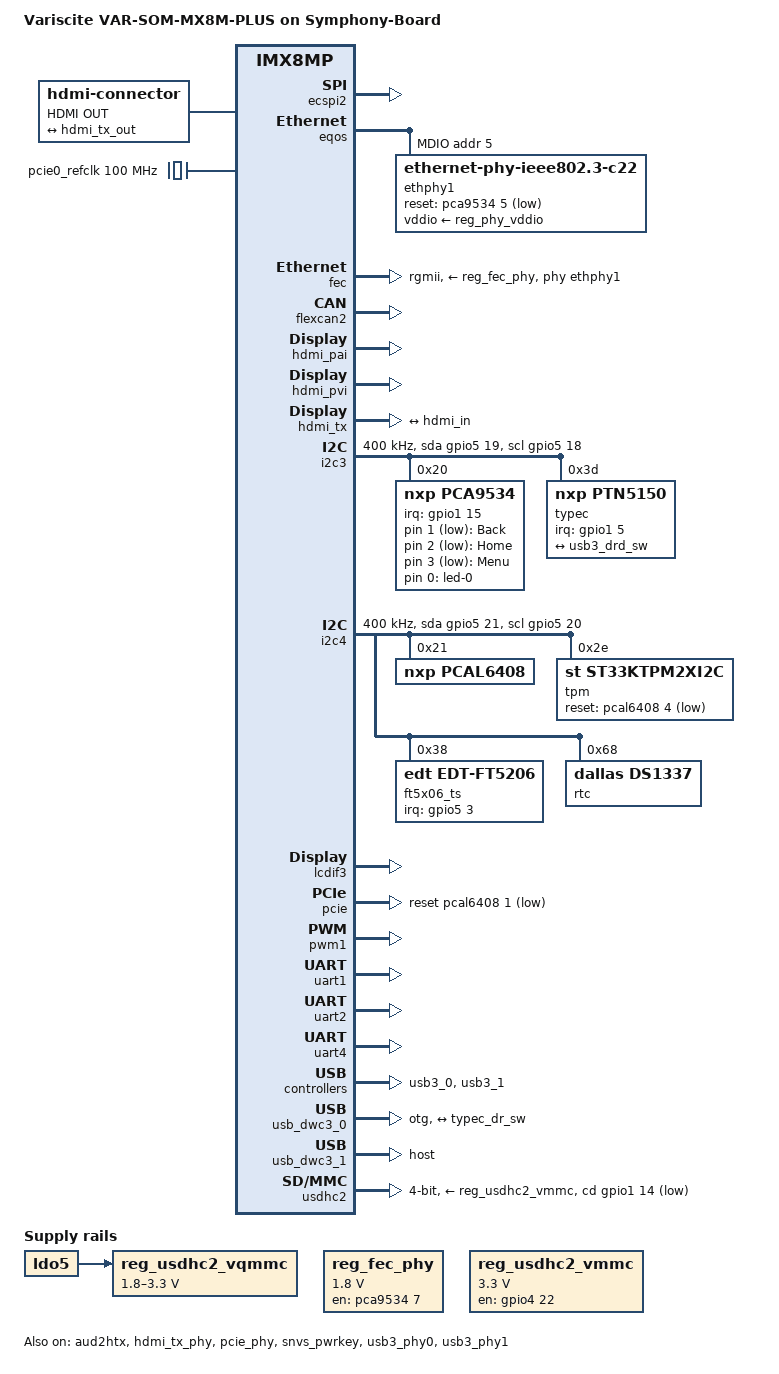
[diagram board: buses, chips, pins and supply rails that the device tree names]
// SPDX-License-Identifier: (GPL-2.0+ OR MIT)
/*
 * Copyright 2024 Variscite Ltd.
 */

#include "imx8mp-var-som.dtsi"

/ {
	model = "Variscite VAR-SOM-MX8M-PLUS on Symphony-Board";
	compatible = "variscite,var-som-mx8mp-symphony", "variscite,var-som-mx8mp", "fsl,imx8mp";

	chosen {
		stdout-path = &uart2;
	};

	gpio-keys {
		compatible = "gpio-keys";

		button-back {
			label = "Back";
			linux,code = <KEY_BACK>;
			gpios = <&pca9534 1 GPIO_ACTIVE_LOW>;
			wakeup-source;
		};

		button-home {
			label = "Home";
			linux,code = <KEY_HOME>;
			gpios = <&pca9534 2 GPIO_ACTIVE_LOW>;
			wakeup-source;
		};

		button-menu {
			label = "Menu";
			linux,code = <KEY_MENU>;
			gpios = <&pca9534 3 GPIO_ACTIVE_LOW>;
			wakeup-source;
		};
	};

	gpio-leds {
		compatible = "gpio-leds";

		led-0 {
			function = LED_FUNCTION_POWER;
			gpios = <&pca9534 0 GPIO_ACTIVE_HIGH>;
			linux,default-trigger = "heartbeat";
		};
	};

	native-hdmi-connector {
		compatible = "hdmi-connector";
		label = "HDMI OUT";
		type = "a";

		port {
			hdmi_in: endpoint {
				remote-endpoint = <&hdmi_tx_out>;
			};
		};
	};

	pcie0_refclk: pcie0-refclk {
		compatible = "fixed-clock";
		#clock-cells = <0>;
		clock-frequency = <100000000>;
	};

	reg_fec_phy: regulator-fec-phy {
		compatible = "regulator-fixed";
		regulator-name = "fec-phy";
		regulator-min-microvolt = <1800000>;
		regulator-max-microvolt = <1800000>;
		regulator-enable-ramp-delay = <20000>;
		gpio = <&pca9534 7 GPIO_ACTIVE_HIGH>;
		enable-active-high;
	};

	reg_usdhc2_vmmc: regulator-usdhc2-vmmc {
		compatible = "regulator-fixed";
		regulator-name = "VSD_3V3";
		regulator-min-microvolt = <3300000>;
		regulator-max-microvolt = <3300000>;
		gpios = <&gpio4 22 GPIO_ACTIVE_HIGH>;
		enable-active-high;
		startup-delay-us = <100>;
		off-on-delay-us = <12000>;
	};

	reg_usdhc2_vqmmc: regulator-usdhc2-vqmmc {
		compatible = "regulator-gpio";
		regulator-name = "VSD_VSEL";
		regulator-min-microvolt = <1800000>;
		regulator-max-microvolt = <3300000>;
		gpios = <&gpio2 12 GPIO_ACTIVE_HIGH>;
		states = <3300000 0x0 1800000 0x1>;
		vin-supply = <&ldo5>;
	};

	sound-hdmi {
		compatible = "fsl,imx-audio-hdmi";
		model = "audio-hdmi";
		audio-cpu = <&aud2htx>;
		hdmi-out;
	};
};

&aud2htx {
	status = "okay";
};

&ecspi2 {
	pinctrl-names = "default";
	pinctrl-0 = <&pinctrl_ecspi2>;
	cs-gpios = <&gpio5 13 GPIO_ACTIVE_LOW>;
	status = "okay";
};

&eqos {
	mdio {
		ethphy1: ethernet-phy@5 {
			compatible = "ethernet-phy-ieee802.3-c22";
			reg = <5>;
			reset-gpios = <&pca9534 5 GPIO_ACTIVE_LOW>;
			reset-assert-us = <10000>;
			reset-deassert-us = <20000>;
			vddio-supply = <&reg_phy_vddio>;
		};
	};
};

&fec {
	pinctrl-names = "default";
	pinctrl-0 = <&pinctrl_fec>;
	/*
	 * The required RGMII TX and RX 2ns delays are implemented directly
	 * in hardware via passive delay elements on the SOM PCB.
	 * No delay configuration is needed in software via PHY driver.
	 */
	phy-mode = "rgmii";
	phy-handle = <&ethphy1>;
	phy-supply = <&reg_fec_phy>;
	status = "okay";
};

&flexcan2 {
	pinctrl-names = "default";
	pinctrl-0 = <&pinctrl_flexcan2>;
	status = "okay";
};

&hdmi_pai {
	status = "okay";
};

&hdmi_pvi {
	status = "okay";
};

&hdmi_tx {
	pinctrl-names = "default";
	pinctrl-0 = <&pinctrl_hdmi>;
	status = "okay";

	ports {
		port@1 {
			hdmi_tx_out: endpoint {
				remote-endpoint = <&hdmi_in>;
			};
		};
	};
};

&hdmi_tx_phy {
	status = "okay";
};

&i2c3 {
	clock-frequency = <400000>;
	pinctrl-names = "default", "gpio";
	pinctrl-0 = <&pinctrl_i2c3>;
	pinctrl-1 = <&pinctrl_i2c3_gpio>;
	scl-gpios = <&gpio5 18 (GPIO_ACTIVE_HIGH | GPIO_OPEN_DRAIN)>;
	sda-gpios = <&gpio5 19 (GPIO_ACTIVE_HIGH | GPIO_OPEN_DRAIN)>;
	status = "okay";

	/* GPIO expander */
	pca9534: gpio@20 {
		compatible = "nxp,pca9534";
		reg = <0x20>;
		pinctrl-names = "default";
		pinctrl-0 = <&pinctrl_pca9534>;
		gpio-controller;
		#gpio-cells = <2>;
		interrupt-parent = <&gpio1>;
		interrupts = <15 IRQ_TYPE_EDGE_FALLING>;
		wakeup-source;

		usb3-sata-sel-hog {
			gpio-hog;
			gpios = <4 0>;
			output-low;
			line-name = "usb3_sata_sel";
		};
	};

	/* USB Type-C Controller */
	typec@3d {
		compatible = "nxp,ptn5150";
		reg = <0x3d>;
		pinctrl-names = "default";
		pinctrl-0 = <&pinctrl_ptn5150>;
		interrupt-parent = <&gpio1>;
		interrupts = <5 IRQ_TYPE_EDGE_FALLING>;

		port {
			typec_dr_sw: endpoint {
				remote-endpoint = <&usb3_drd_sw>;
			};
		};
	};
};

&i2c4 {
	clock-frequency = <400000>;
	pinctrl-names = "default", "gpio", "sleep";
	pinctrl-0 = <&pinctrl_i2c4>;
	pinctrl-1 = <&pinctrl_i2c4_gpio>;
	pinctrl-2 = <&pinctrl_i2c4_gpio>;
	scl-gpios = <&gpio5 20 (GPIO_ACTIVE_HIGH | GPIO_OPEN_DRAIN)>;
	sda-gpios = <&gpio5 21 (GPIO_ACTIVE_HIGH | GPIO_OPEN_DRAIN)>;
	status = "okay";

	pcal6408: gpio@21 {
		compatible = "nxp,pcal6408";
		reg = <0x21>;
		#gpio-cells = <2>;
		gpio-controller;

		/* RGB_SEL */
		lvds-brg-enable-hog {
			gpio-hog;
			gpios = <7 GPIO_ACTIVE_HIGH>;
			output-low;
			line-name = "rgb_sel";
		};
	};

	st33ktpm2xi2c: tpm@2e {
		compatible = "st,st33ktpm2xi2c", "tcg,tpm-tis-i2c";
		reg = <0x2e>;
		label = "tpm";
		reset-gpios = <&pcal6408 4 GPIO_ACTIVE_LOW>;
	};

	/* Capacitive touch controller */
	ft5x06_ts: touchscreen@38 {
		compatible = "edt,edt-ft5206";
		reg = <0x38>;
		pinctrl-names = "default";
		pinctrl-0 = <&pinctrl_captouch>;
		interrupt-parent = <&gpio5>;
		interrupts = <3 IRQ_TYPE_EDGE_FALLING>;
		touchscreen-size-x = <800>;
		touchscreen-size-y = <480>;
		touchscreen-inverted-x;
		touchscreen-inverted-y;
		wakeup-source;
	};

	rtc@68 {
		compatible = "dallas,ds1337";
		reg = <0x68>;
	};
};

&lcdif3 {
	status = "okay";
};

&pcie {
	reset-gpios = <&pcal6408 1 GPIO_ACTIVE_LOW>;
	status = "okay";
};

&pcie_phy {
	clocks = <&pcie0_refclk>;
	clock-names = "ref";
	fsl,refclk-pad-mode = <IMX8_PCIE_REFCLK_PAD_INPUT>;
	status = "okay";
};

&pwm1 {
	pinctrl-names = "default";
	pinctrl-0 = <&pinctrl_pwm1>;
	status = "okay";
};

&snvs_pwrkey {
	status = "okay";
};

&snvs_rtc {
	status = "disabled";
};

/* Header UART */
&uart1 {
	pinctrl-names = "default";
	pinctrl-0 = <&pinctrl_uart1>;
	status = "okay";
};

/* Console */
&uart2 {
	pinctrl-names = "default";
	pinctrl-0 = <&pinctrl_uart2>;
	status = "okay";
};

/* Header UART */
&uart4 {
	pinctrl-names = "default";
	pinctrl-0 = <&pinctrl_uart4>;
	status = "okay";
};

&usb3_0 {
	status = "okay";
};

&usb3_1 {
	status = "okay";
};

&usb_dwc3_0 {
	adp-disable;
	dr_mode = "otg";
	hnp-disable;
	snps,dis-u1-entry-quirk;
	snps,dis-u2-entry-quirk;
	srp-disable;
	usb-role-switch;
	status = "okay";

	port {
		usb3_drd_sw: endpoint {
			remote-endpoint = <&typec_dr_sw>;
		};
	};
};

&usb_dwc3_1 {
	dr_mode = "host";
	status = "okay";
};

&usb3_phy0 {
	fsl,phy-comp-dis-tune-percent = <115>;
	fsl,phy-pcs-tx-deemph-3p5db-attenuation-db = <33>;
	fsl,phy-pcs-tx-swing-full-percent = <100>;
	fsl,phy-tx-preemp-amp-tune-microamp = <1800>;
	fsl,phy-tx-vboost-level-microvolt = <1156>;
	fsl,phy-tx-vref-tune-percent = <122>;
	status = "okay";
};

&usb3_phy1 {
	fsl,phy-tx-preemp-amp-tune-microamp = <1800>;
	fsl,phy-tx-vref-tune-percent = <116>;
	status = "okay";
};

/* SD-card */
&usdhc2 {
	pinctrl-names = "default", "state_100mhz", "state_200mhz";
	pinctrl-0 = <&pinctrl_usdhc2>, <&pinctrl_usdhc2_gpio>;
	pinctrl-1 = <&pinctrl_usdhc2_100mhz>, <&pinctrl_usdhc2_gpio>;
	pinctrl-2 = <&pinctrl_usdhc2_200mhz>, <&pinctrl_usdhc2_gpio>;
	cd-gpios = <&gpio1 14 GPIO_ACTIVE_LOW>;
	vmmc-supply = <&reg_usdhc2_vmmc>;
	vqmmc-supply = <&reg_usdhc2_vqmmc>;
	bus-width = <4>;
	status = "okay";
};

&iomuxc {
	pinctrl_captouch: captouchgrp {
		fsl,pins = <
			MX8MP_IOMUXC_SPDIF_TX__GPIO5_IO03				0x16
		>;
	};

	pinctrl_ecspi2: ecspi2grp {
		fsl,pins = <
			MX8MP_IOMUXC_ECSPI2_SCLK__ECSPI2_SCLK				0x12
			MX8MP_IOMUXC_ECSPI2_MOSI__ECSPI2_MOSI				0x12
			MX8MP_IOMUXC_ECSPI2_MISO__ECSPI2_MISO				0x12
			MX8MP_IOMUXC_ECSPI2_SS0__GPIO5_IO13				0x12
		>;
	};

	pinctrl_fec: fecgrp {
		fsl,pins = <
			MX8MP_IOMUXC_SAI1_RXD4__ENET1_RGMII_RD0				0x90
			MX8MP_IOMUXC_SAI1_RXD5__ENET1_RGMII_RD1				0x90
			MX8MP_IOMUXC_SAI1_RXD6__ENET1_RGMII_RD2				0x90
			MX8MP_IOMUXC_SAI1_RXD7__ENET1_RGMII_RD3				0x90
			MX8MP_IOMUXC_SAI1_TXC__ENET1_RGMII_RXC				0x90
			MX8MP_IOMUXC_SAI1_TXFS__ENET1_RGMII_RX_CTL			0x90
			MX8MP_IOMUXC_SAI1_TXD0__ENET1_RGMII_TD0				0x00
			MX8MP_IOMUXC_SAI1_TXD1__ENET1_RGMII_TD1				0x00
			MX8MP_IOMUXC_SAI1_TXD2__ENET1_RGMII_TD2				0x00
			MX8MP_IOMUXC_SAI1_TXD3__ENET1_RGMII_TD3				0x00
			MX8MP_IOMUXC_SAI1_TXD4__ENET1_RGMII_TX_CTL			0x00
			MX8MP_IOMUXC_SAI1_TXD5__ENET1_RGMII_TXC				0x00
		>;
	};

	pinctrl_flexcan2: flexcan2grp {
		fsl,pins = <
			MX8MP_IOMUXC_UART3_RXD__CAN2_TX					0x154
			MX8MP_IOMUXC_UART3_TXD__CAN2_RX					0x154
		>;
	};

	pinctrl_hdmi: hdmigrp {
		fsl,pins = <
			MX8MP_IOMUXC_HDMI_DDC_SCL__HDMIMIX_HDMI_SCL			0x1c2
			MX8MP_IOMUXC_HDMI_DDC_SDA__HDMIMIX_HDMI_SDA			0x1c2
			MX8MP_IOMUXC_HDMI_CEC__HDMIMIX_HDMI_CEC				0x10
			MX8MP_IOMUXC_HDMI_HPD__HDMIMIX_HDMI_HPD				0x10
		>;
	};

	pinctrl_i2c3: i2c3grp {
		fsl,pins = <
			MX8MP_IOMUXC_I2C3_SCL__I2C3_SCL                                 0x400001c2
			MX8MP_IOMUXC_I2C3_SDA__I2C3_SDA                                 0x400001c2
		>;
	};

	pinctrl_i2c3_gpio: i2c3gpiogrp {
		fsl,pins = <
			MX8MP_IOMUXC_I2C3_SCL__GPIO5_IO18				0x400001c2
			MX8MP_IOMUXC_I2C3_SDA__GPIO5_IO19				0x400001c2
		>;
	};

	pinctrl_i2c4: i2c4grp {
		fsl,pins = <
			MX8MP_IOMUXC_I2C4_SCL__I2C4_SCL					0x400001c2
			MX8MP_IOMUXC_I2C4_SDA__I2C4_SDA					0x400001c2
		>;
	};

	pinctrl_i2c4_gpio: i2c4gpiogrp {
		fsl,pins = <
			MX8MP_IOMUXC_I2C4_SCL__GPIO5_IO20				0x400001c2
			MX8MP_IOMUXC_I2C4_SDA__GPIO5_IO21				0x400001c2
		>;
	};

	pinctrl_pca9534: pca9534grp {
		fsl,pins = <
			MX8MP_IOMUXC_GPIO1_IO15__GPIO1_IO15                             0xc0
		>;
	};

	pinctrl_ptn5150: ptn5150grp {
		fsl,pins = <
			MX8MP_IOMUXC_GPIO1_IO05__GPIO1_IO05				0x10
		>;
	};

	pinctrl_pwm1: pwm1grp {
		fsl,pins = <
			MX8MP_IOMUXC_SPDIF_EXT_CLK__PWM1_OUT				0x116
		>;
	};

	pinctrl_uart1: uart1grp {
		fsl,pins = <
			MX8MP_IOMUXC_UART1_RXD__UART1_DCE_RX				0x40
			MX8MP_IOMUXC_UART1_TXD__UART1_DCE_TX				0x40
		>;
	};

	pinctrl_uart2: uart2grp {
		fsl,pins = <
			MX8MP_IOMUXC_UART2_RXD__UART2_DCE_RX                            0x40
			MX8MP_IOMUXC_UART2_TXD__UART2_DCE_TX                            0x40
		>;
	};

	pinctrl_uart4: uart4grp {
		fsl,pins = <
			MX8MP_IOMUXC_UART4_RXD__UART4_DCE_RX				0x40
			MX8MP_IOMUXC_UART4_TXD__UART4_DCE_TX				0x40
		>;
	};

	pinctrl_usdhc2_gpio: usdhc2-gpiogrp {
		fsl,pins = <
			MX8MP_IOMUXC_GPIO1_IO14__GPIO1_IO14                             0x1c4
			MX8MP_IOMUXC_SAI2_RXC__GPIO4_IO22                               0x10
			MX8MP_IOMUXC_SD2_CD_B__GPIO2_IO12                               0xc0
		>;
	};

	pinctrl_usdhc2: usdhc2grp {
		fsl,pins = <
			MX8MP_IOMUXC_SD2_CLK__USDHC2_CLK                                0x190
			MX8MP_IOMUXC_SD2_CMD__USDHC2_CMD                                0x1d0
			MX8MP_IOMUXC_SD2_DATA0__USDHC2_DATA0                            0x1d0
			MX8MP_IOMUXC_SD2_DATA1__USDHC2_DATA1                            0x1d0
			MX8MP_IOMUXC_SD2_DATA2__USDHC2_DATA2                            0x1d0
			MX8MP_IOMUXC_SD2_DATA3__USDHC2_DATA3                            0x1d0
		>;
	};

	pinctrl_usdhc2_100mhz: usdhc2-100mhzgrp {
		fsl,pins = <
			MX8MP_IOMUXC_SD2_CLK__USDHC2_CLK                                0x194
			MX8MP_IOMUXC_SD2_CMD__USDHC2_CMD                                0x1d4
			MX8MP_IOMUXC_SD2_DATA0__USDHC2_DATA0                            0x1d4
			MX8MP_IOMUXC_SD2_DATA1__USDHC2_DATA1                            0x1d4
			MX8MP_IOMUXC_SD2_DATA2__USDHC2_DATA2                            0x1d4
			MX8MP_IOMUXC_SD2_DATA3__USDHC2_DATA3                            0x1d4
		>;
	};

	pinctrl_usdhc2_200mhz: usdhc2-200mhzgrp {
		fsl,pins = <
			MX8MP_IOMUXC_SD2_CLK__USDHC2_CLK                                0x196
			MX8MP_IOMUXC_SD2_CMD__USDHC2_CMD                                0x1d6
			MX8MP_IOMUXC_SD2_DATA0__USDHC2_DATA0                            0x1d6
			MX8MP_IOMUXC_SD2_DATA1__USDHC2_DATA1                            0x1d6
			MX8MP_IOMUXC_SD2_DATA2__USDHC2_DATA2                            0x1d6
			MX8MP_IOMUXC_SD2_DATA3__USDHC2_DATA3                            0x1d6
		>;
	};
};
